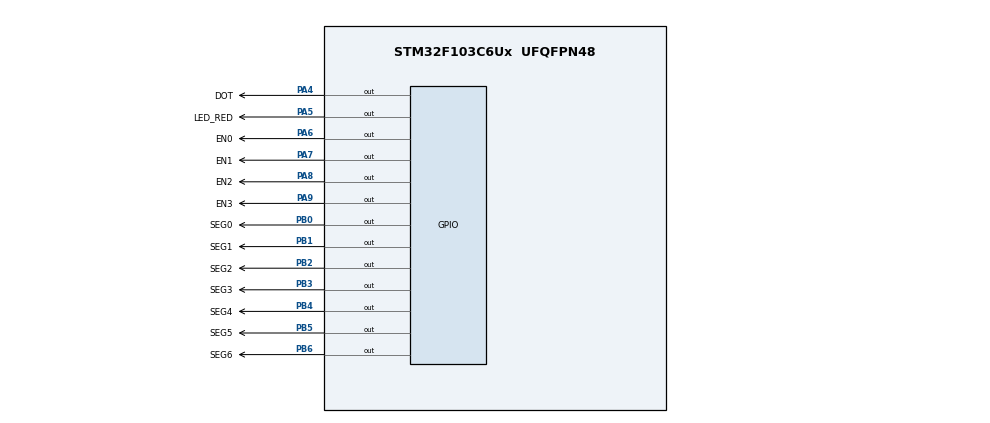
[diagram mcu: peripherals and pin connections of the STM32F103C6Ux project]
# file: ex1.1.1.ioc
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Mcu.Family=STM32F1
Mcu.Name=STM32F103C6Ux
Mcu.Package=UFQFPN48
NVIC.PriorityGroup=NVIC_PRIORITYGROUP_4
NVIC.TIM2_IRQn=true\:0\:0\:false\:false\:true\:true\:true
PA4.GPIO_Label=DOT
PA4.Signal=GPIO_Output
PA5.GPIO_Label=LED_RED
PA5.Signal=GPIO_Output
PA6.GPIO_Label=EN0
PA6.Signal=GPIO_Output
PA7.GPIO_Label=EN1
PA7.Signal=GPIO_Output
PA8.GPIO_Label=EN2
PA8.Signal=GPIO_Output
PA9.GPIO_Label=EN3
PA9.Signal=GPIO_Output
PB0.GPIO_Label=SEG0
PB0.Signal=GPIO_Output
PB1.GPIO_Label=SEG1
PB1.Signal=GPIO_Output
PB2.GPIO_Label=SEG2
PB2.Signal=GPIO_Output
PB3.GPIO_Label=SEG3
PB3.Signal=GPIO_Output
PB4.GPIO_Label=SEG4
PB4.Signal=GPIO_Output
PB5.GPIO_Label=SEG5
PB5.Signal=GPIO_Output
PB6.GPIO_Label=SEG6
PB6.Signal=GPIO_Output
ProjectManager.HeapSize=0x200
ProjectManager.StackSize=0x400
ProjectManager.TargetToolchain=STM32CubeIDE
RCC.APB1Freq_Value=8000000
RCC.APB2Freq_Value=8000000
TIM2.Period=9
TIM2.Prescaler=7999
VP_SYS_VS_ND.Mode=No_Debug
VP_TIM2_VS_ClockSourceINT.Mode=Internal
board=custom

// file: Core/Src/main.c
/* USER CODE BEGIN Header */
/**
  ******************************************************************************
  * @file           : main.c
  * @brief          : Main program body
  ******************************************************************************
  * @attention
  *
  * <h2><center>&copy; Copyright (c) 2022 STMicroelectronics.
  * All rights reserved.</center></h2>
  *
  * This software component is licensed by ST under BSD 3-Clause license,
  * the "License"; You may not use this file except in compliance with the
  * License. You may obtain a copy of the License at:
  *                        opensource.org/licenses/BSD-3-Clause
  *
  ******************************************************************************
  */
/* USER CODE END Header */
#include "main.h"

TIM_HandleTypeDef htim2;

void SystemClock_Config(void);
static void MX_GPIO_Init(void);
static void MX_TIM2_Init(void);

int main(void)
{

  /* MCU Configuration--------------------------------------------------------*/

  /* Reset of all peripherals, Initializes the Flash interface and the Systick. */
  HAL_Init();

  /* Configure the system clock */
  SystemClock_Config();

  /* Initialize all configured peripherals */
  MX_GPIO_Init();
  MX_TIM2_Init();
  /* USER CODE BEGIN 2 */
  HAL_TIM_Base_Start_IT(&htim2);

  /* USER CODE END 2 */

  /* Infinite loop */
  while (1)
  {

  }
}

void SystemClock_Config(void)
{
  RCC_OscInitTypeDef RCC_OscInitStruct = {0};
  RCC_ClkInitTypeDef RCC_ClkInitStruct = {0};

  /** Initializes the RCC Oscillators according to the specified parameters
  * in the RCC_OscInitTypeDef structure.
  */
  RCC_OscInitStruct.OscillatorType = RCC_OSCILLATORTYPE_HSI;
  RCC_OscInitStruct.HSIState = RCC_HSI_ON;
  RCC_OscInitStruct.HSICalibrationValue = RCC_HSICALIBRATION_DEFAULT;
  RCC_OscInitStruct.PLL.PLLState = RCC_PLL_NONE;
  if (HAL_RCC_OscConfig(&RCC_OscInitStruct) != HAL_OK)
  {
    Error_Handler();
  }
  /** Initializes the CPU, AHB and APB buses clocks
  */
  RCC_ClkInitStruct.ClockType = RCC_CLOCKTYPE_HCLK|RCC_CLOCKTYPE_SYSCLK
                              |RCC_CLOCKTYPE_PCLK1|RCC_CLOCKTYPE_PCLK2;
  RCC_ClkInitStruct.SYSCLKSource = RCC_SYSCLKSOURCE_HSI;
  RCC_ClkInitStruct.AHBCLKDivider = RCC_SYSCLK_DIV1;
  RCC_ClkInitStruct.APB1CLKDivider = RCC_HCLK_DIV1;
  RCC_ClkInitStruct.APB2CLKDivider = RCC_HCLK_DIV1;

  if (HAL_RCC_ClockConfig(&RCC_ClkInitStruct, FLASH_LATENCY_0) != HAL_OK)
  {
    Error_Handler();
  }
}

static void MX_TIM2_Init(void)
{

  TIM_ClockConfigTypeDef sClockSourceConfig = {0};
  TIM_MasterConfigTypeDef sMasterConfig = {0};

  htim2.Instance = TIM2;
  htim2.Init.Prescaler = 7999;
  htim2.Init.CounterMode = TIM_COUNTERMODE_UP;
  htim2.Init.Period = 9;
  htim2.Init.ClockDivision = TIM_CLOCKDIVISION_DIV1;
  htim2.Init.AutoReloadPreload = TIM_AUTORELOAD_PRELOAD_DISABLE;
  if (HAL_TIM_Base_Init(&htim2) != HAL_OK)
  {
    Error_Handler();
  }
  sClockSourceConfig.ClockSource = TIM_CLOCKSOURCE_INTERNAL;
  if (HAL_TIM_ConfigClockSource(&htim2, &sClockSourceConfig) != HAL_OK)
  {
    Error_Handler();
  }
  sMasterConfig.MasterOutputTrigger = TIM_TRGO_RESET;
  sMasterConfig.MasterSlaveMode = TIM_MASTERSLAVEMODE_DISABLE;
  if (HAL_TIMEx_MasterConfigSynchronization(&htim2, &sMasterConfig) != HAL_OK)
  {
    Error_Handler();
  }

}

static void MX_GPIO_Init(void)
{
  GPIO_InitTypeDef GPIO_InitStruct = {0};

  /* GPIO Ports Clock Enable */
  __HAL_RCC_GPIOA_CLK_ENABLE();
  __HAL_RCC_GPIOB_CLK_ENABLE();

  /*Configure GPIO pin Output Level */
  HAL_GPIO_WritePin(GPIOA, GPIO_PIN_5|GPIO_PIN_6|GPIO_PIN_7, GPIO_PIN_RESET);

  /*Configure GPIO pin Output Level */
  HAL_GPIO_WritePin(GPIOB, GPIO_PIN_0|GPIO_PIN_1|GPIO_PIN_2|GPIO_PIN_3
                          |GPIO_PIN_4|GPIO_PIN_5|GPIO_PIN_6, GPIO_PIN_RESET);

  /*Configure GPIO pins : PA5 PA6 PA7 */
  GPIO_InitStruct.Pin = GPIO_PIN_5|GPIO_PIN_6|GPIO_PIN_7;
  GPIO_InitStruct.Mode = GPIO_MODE_OUTPUT_PP;
  GPIO_InitStruct.Pull = GPIO_NOPULL;
  GPIO_InitStruct.Speed = GPIO_SPEED_FREQ_LOW;
  HAL_GPIO_Init(GPIOA, &GPIO_InitStruct);

  /*Configure GPIO pins : PB0 PB1 PB2 PB3
                           PB4 PB5 PB6 */
  GPIO_InitStruct.Pin = GPIO_PIN_0|GPIO_PIN_1|GPIO_PIN_2|GPIO_PIN_3
                          |GPIO_PIN_4|GPIO_PIN_5|GPIO_PIN_6;
  GPIO_InitStruct.Mode = GPIO_MODE_OUTPUT_PP;
  GPIO_InitStruct.Pull = GPIO_NOPULL;
  GPIO_InitStruct.Speed = GPIO_SPEED_FREQ_LOW;
  HAL_GPIO_Init(GPIOB, &GPIO_InitStruct);

}

/* USER CODE BEGIN 4 */
void clearLed() {
	HAL_GPIO_WritePin(GPIOA, EN0_Pin | EN1_Pin, SET);
	HAL_GPIO_WritePin(GPIOB, SEG0_Pin | SEG1_Pin | SEG2_Pin |
							 SEG3_Pin | SEG4_Pin | SEG5_Pin |
							 SEG6_Pin, SET);
}

int pinControll7SEG[2] = {EN0_Pin, EN1_Pin};

void enablePin(int index) {
	HAL_GPIO_WritePin(GPIOA, pinControll7SEG[index], RESET);
}
void display7SEG(int num) {
    char segNumber[10] = {0xC0, 0xF9, 0xA4, 0xB0, 0x99, 0x92, 0x82, 0xF8, 0x80, 0x90};
    for (int i = 0; i < 7; ++i) {
        HAL_GPIO_WritePin(GPIOB, GPIO_PIN_0 << i, (segNumber[num] >> i) & 1);
    }
}

int counter = 100, status = 1;
int buffer[2] = {1,2};
void HAL_TIM_PeriodElapsedCallback (TIM_HandleTypeDef *htim) {
	counter--;
	if(counter == 50 || counter == 0) {
		// LED RED BLINK 1S
		if(counter == 0) {
			counter = 100;
			HAL_GPIO_TogglePin(LED_RED_GPIO_Port, LED_RED_Pin);
		}
		// SWITCH 2 LED7SEG 0.5S
		clearLed();
		enablePin(status);
		display7SEG(buffer[status]);
		if(status == 0) status = 1;
		else status = 0;
	}
}
/* USER CODE END 4 */

void Error_Handler(void)
{
  __disable_irq();
  while (1)
  {
  }
}

/************************ (C) COPYRIGHT STMicroelectronics *****END OF FILE****/
